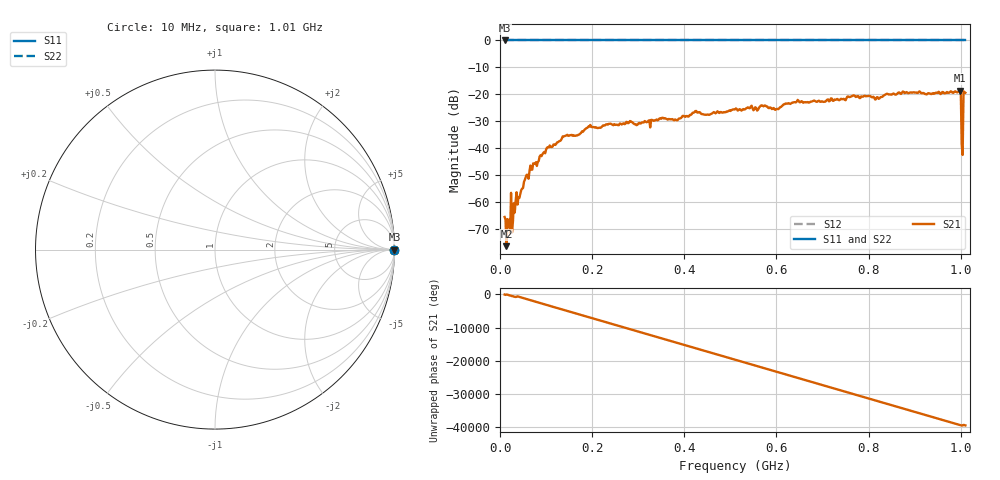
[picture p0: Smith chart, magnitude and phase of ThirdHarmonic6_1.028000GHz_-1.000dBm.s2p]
! 8/16/2025 8:44:22 AM
! C:\ANRITSUVNA\TEMP\TEMP.S2P
! CHANNEL.1
! TR.MEASUREMENT
! RAW.DATA
! RF.CORRECTION.OFF
! AVERAGING.OFF
! IF.BANDWIDTH: 5KHZ
! SWEEPTYPE:  FREQ.SWEEP(Linear)
! Reference Plane Port Info
! PORT:  PORT1  PORT2
! DISTANCE:  0  m  0  m
! TIME:  0  s  0  s
! PHASE.OFFSET:  0  deg.  0  deg.
! LOSS:  0  dB  0  dB
! REF.LOSS:  0  dB  0  dB
! REF.FREQ:  0  Hz  0  Hz
! Power Info
! POWER:  -20  dBm  -20  dBm
! EFF.POWER:  -20  dBm  -20  dBm
! SOURCE.ATTEN:  0  dB  0  dB
! TEST.ATTEN:  0  dB  0  dB
# GHZ S RI R 50.0
! FREQ.GHZ  S11RE  S11IM  S21RE  S21IM  S12RE  S12IM  S22RE  S22IM
!; PortSelection: Port_12
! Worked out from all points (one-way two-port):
!   501 points, 10 MHz to 1.01 GHz, reference 50 ohm
!   highest |S21| = -18.57 dB at 998 MHz (marker M1); lowest = -76.3 dB at 14 MHz (marker M2)
!   lowest |S11| = 0.0 dB at 10 MHz (marker M3)
!   |S11| at or under -10 dB: nowhere
!   |S22| runs from 0.0 to 0.0 dB; largest |S21 - S12| = 1.1
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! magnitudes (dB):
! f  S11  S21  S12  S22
! 10 MHz  0.0  -65.5  0.0  0.0
! 14 MHz  0.0  -76.3  0.0  0.0
! 18 MHz  0.0  -69.1  0.0  0.0
! 20 MHz  0.0  -66.5  0.0  0.0
! 30 MHz  0.0  -60.4  0.0  0.0
! 34 MHz  0.0  -59.5  0.0  0.0
! 70 MHz  0.0  -47.9  0.0  0.0
! 104 MHz  0.0  -39.6  0.0  0.0
! 140 MHz  0.0  -35.5  0.0  0.0
! 178 MHz  0.0  -33.7  0.0  0.0
! 194 MHz  0.0  -32.0  0.0  0.0
! 344 MHz  0.0  -29.4  0.0  0.0
! 510 MHz  0.0  -25.6  0.0  0.0
! 570 MHz  0.0  -24.3  0.0  0.0
! 600 MHz  0.0  -25.4  0.0  0.0
! 678 MHz  0.0  -22.6  0.0  0.0
! 844 MHz  0.0  -20.1  0.0  0.0
! 996 MHz  0.0  -18.7  0.0  0.0
! 998 MHz  0.0  -18.6  0.0  0.0
! 1 GHz  0.0  -18.9  0.0  0.0
! 1.006 GHz  0.0  -18.9  0.0  0.0
! 1.01 GHz  0.0  -19.4  0.0  0.0
